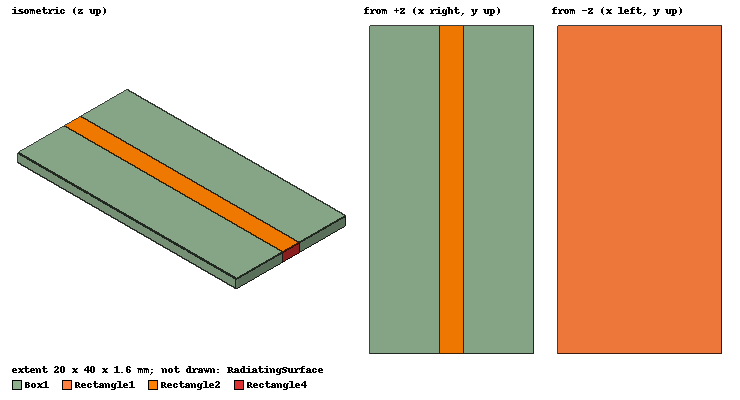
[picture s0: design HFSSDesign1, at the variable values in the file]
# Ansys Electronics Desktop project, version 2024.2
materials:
  vacuum: permittivity=1
  FR4_epoxy: permittivity=4.4 dielectric_loss_tangent=0.02

design HFSSDesign1 (HFSS, HFSS Terminal Network, model units mm)
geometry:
  Rectangle1 = rectangle(corner=(-10mm, -20mm, 0mm), x_size=20mm, y_size=40mm)
  Box1 [FR4_epoxy] = box(corner=(-10mm, -20mm, 0mm), size=(20mm, 40mm, 1.6mm))
  Rectangle2 = rectangle(corner=(-1.5mm, -20mm, 1.6mm), x_size=3mm, y_size=40mm)
  Rectangle3 = rectangle(corner=(-1.5mm, -20mm, 1.6mm), z_size=-1.6mm, x_size=3mm)
  Rectangle4 = rectangle(corner=(1.5mm, 20mm, 1.6mm), z_size=-1.6mm, x_size=-3mm)
  RadiatingSurface [vacuum] = region(absolute_offset=41.666667mm on all sides)
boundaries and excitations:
  PerfE1: Perfect E Objects=Rectangle1
  PerfE2: Perfect E Objects=Rectangle2
  Open1: Radiation Objects=RadiatingSurface
  1: Lumped Port Objects=Rectangle3 LumpedPortType=Modal Modes{Mode1{IntLine{(0, -20, 0) -> (0, -20, 1.6)} CharImp=Zpi}} Impedance=50ohm
  2: Lumped Port Objects=Rectangle4 LumpedPortType=Modal Modes{Mode1{IntLine{(0, 20, 0) -> (0, 20, 1.6)} CharImp=Zpi}} Impedance=50ohm
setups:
  Setup1: HfssDriven Frequency=2.4GHz MaxDeltaS=0.02 MaximumPasses=6 MinimumPasses=1 MinimumConvergedPasses=1 PercentRefinement=30 BasisOrder=1 PortAccuracy=2 DrivenSolverType="Direct Solver"
    sweep Sweep: 1.2GHz to 3.6GHz, 401 points; Type=Interpolating InterpTolerance=0.5 InterpMaxSolns=250 PassivityErrorTolerance=0.0001
  Setup2: HfssDriven Frequency=2.4GHz MaxDeltaS=0.02 MaximumPasses=6 MinimumPasses=1 MinimumConvergedPasses=1 PercentRefinement=30 BasisOrder=1 PortAccuracy=2 DrivenSolverType="Direct Solver"
    sweep Sweep: 1.2GHz to 3.6GHz, 401 points; Type=Interpolating InterpTolerance=0.5 InterpMaxSolns=250 PassivityErrorTolerance=0.0001
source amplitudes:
  1:1: 1V 0deg
  2:1: 0V 0deg
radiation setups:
  3D: Infinite Sphere Theta=0deg..180deg step 2deg Phi=-180deg..180deg step 2deg
  Elevation: Infinite Sphere Theta=-180deg..180deg step 1deg Phi=0deg..90deg step 90deg
  Azimuth: Infinite Sphere Theta=90deg..90deg step 0deg Phi=-180deg..180deg step 1deg
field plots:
  Mag_E1: E Field over Rectangle2.face on Setup1 : LastAdaptive at Freq=2.4GHz Phase=0deg
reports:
  S Parameter Plot 1: dB(S(1,1)), dB(S(2,1)), dB(S(1,2)), dB(S(2,2)) vs Freq on Setup1 : Sweep
